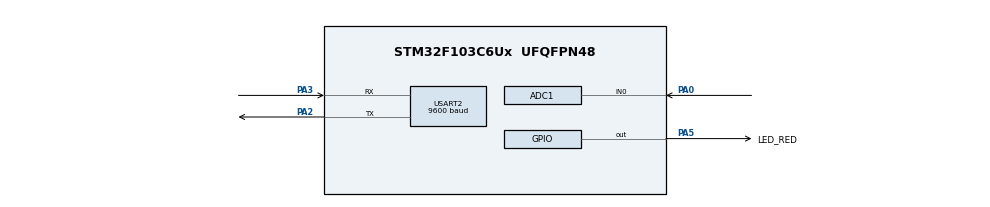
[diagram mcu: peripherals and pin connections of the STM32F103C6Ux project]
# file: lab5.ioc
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ADC1.Channel-0\#ChannelRegularConversion=ADC_CHANNEL_0
ADC1.ContinuousConvMode=ENABLE
ADC1.NbrOfConversionFlag=1
ADC1.Rank-0\#ChannelRegularConversion=1
ADC1.SamplingTime-0\#ChannelRegularConversion=ADC_SAMPLETIME_1CYCLE_5
ADC1.master=1
Mcu.Family=STM32F1
Mcu.Name=STM32F103C6Ux
Mcu.Package=UFQFPN48
NVIC.PriorityGroup=NVIC_PRIORITYGROUP_4
NVIC.TIM2_IRQn=true\:0\:0\:false\:false\:true\:true\:true
NVIC.USART2_IRQn=true\:0\:0\:false\:false\:true\:true\:true
PA0-WKUP.Signal=ADCx_IN0
PA2.Mode=Asynchronous
PA2.Signal=USART2_TX
PA3.Mode=Asynchronous
PA3.Signal=USART2_RX
PA5.GPIO_Label=LED_RED
PA5.Signal=GPIO_Output
PA6.Signal=S_TIM3_CH1
ProjectManager.HeapSize=0x200
ProjectManager.StackSize=0x400
ProjectManager.TargetToolchain=STM32CubeIDE
RCC.APB1Freq_Value=8000000
RCC.APB2Freq_Value=8000000
SH.ADCx_IN0.0=ADC1_IN0,IN0
SH.S_TIM3_CH1.0=TIM3_CH1
TIM2.Period=10
TIM2.Prescaler=7999
USART2.BaudRate=9600
USART2.VirtualMode=VM_ASYNC
VP_SYS_VS_ND.Mode=No_Debug
VP_TIM2_VS_ClockSourceINT.Mode=Internal
board=custom

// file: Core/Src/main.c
/* USER CODE BEGIN Header */
/**
  ******************************************************************************
  * @file           : main.c
  * @brief          : Main program body
  ******************************************************************************
  * @attention
  *
  * <h2><center>&copy; Copyright (c) 2022 STMicroelectronics.
  * All rights reserved.</center></h2>
  *
  * This software component is licensed by ST under BSD 3-Clause license,
  * the "License"; You may not use this file except in compliance with the
  * License. You may obtain a copy of the License at:
  *                        opensource.org/licenses/BSD-3-Clause
  *
  ******************************************************************************
  */
/* USER CODE END Header */
#include "main.h"

/* USER CODE BEGIN Includes */
#include "stdio.h"
#include "global.h"
#include "command_parser_fsm.h"
#include "uart_communiation_fsm.h"
/* USER CODE END Includes */

ADC_HandleTypeDef hadc1;

TIM_HandleTypeDef htim2;

UART_HandleTypeDef huart2;

void SystemClock_Config(void);
static void MX_GPIO_Init(void);
static void MX_ADC1_Init(void);
static void MX_USART2_UART_Init(void);
static void MX_TIM2_Init(void);

/* USER CODE BEGIN 0 */

void HAL_UART_RxCpltCallback ( UART_HandleTypeDef * huart ) {
	if( huart -> Instance == USART2 ) {

//		HAL_UART_Receive_IT (& huart2 ,&temp , 1) ;
//		  HAL_UART_Receive_IT(&huart2, (char*)str, 10);
//		  HAL_UART_Transmit (& huart2 , str , 5 , 50) ;
//
		buffer [ index_buffer ++] = temp ;
		if ( index_buffer == 30) index_buffer = 0;
		buffer_flag = 1;
		HAL_UART_Receive_IT (& huart2 , & temp , 1) ;
		HAL_UART_Transmit (& huart2 , & temp , 1 , 10) ;

	}
}
/* USER CODE END 0 */

int main(void)
{

  /* MCU Configuration--------------------------------------------------------*/

  /* Reset of all peripherals, Initializes the Flash interface and the Systick. */
  HAL_Init();

  /* Configure the system clock */
  SystemClock_Config();

  /* Initialize all configured peripherals */
  MX_GPIO_Init();
  MX_ADC1_Init();
  MX_USART2_UART_Init();
  MX_TIM2_Init();
  /* USER CODE BEGIN 2 */
  HAL_TIM_Base_Start_IT(&htim2);
  HAL_ADC_Start(&hadc1);
  HAL_UART_Receive_IT(&huart2, &temp, 1);
  /* USER CODE END 2 */

  /* Infinite loop */
  /* USER CODE BEGIN WHILE */
  setTimer1(100);
  while (1)
  {   /* USER CODE END WHILE */

    /* USER CODE BEGIN 3 */

	  if( buffer_flag == 1) {
		  command_parser_fsm();
		  buffer_flag = 0;
	  }
	  uart_communiation_fsm();

  }
  /* USER CODE END 3 */
}

void SystemClock_Config(void)
{
  RCC_OscInitTypeDef RCC_OscInitStruct = {0};
  RCC_ClkInitTypeDef RCC_ClkInitStruct = {0};
  RCC_PeriphCLKInitTypeDef PeriphClkInit = {0};

  /** Initializes the RCC Oscillators according to the specified parameters
  * in the RCC_OscInitTypeDef structure.
  */
  RCC_OscInitStruct.OscillatorType = RCC_OSCILLATORTYPE_HSI;
  RCC_OscInitStruct.HSIState = RCC_HSI_ON;
  RCC_OscInitStruct.HSICalibrationValue = RCC_HSICALIBRATION_DEFAULT;
  RCC_OscInitStruct.PLL.PLLState = RCC_PLL_NONE;
  if (HAL_RCC_OscConfig(&RCC_OscInitStruct) != HAL_OK)
  {
    Error_Handler();
  }
  /** Initializes the CPU, AHB and APB buses clocks
  */
  RCC_ClkInitStruct.ClockType = RCC_CLOCKTYPE_HCLK|RCC_CLOCKTYPE_SYSCLK
                              |RCC_CLOCKTYPE_PCLK1|RCC_CLOCKTYPE_PCLK2;
  RCC_ClkInitStruct.SYSCLKSource = RCC_SYSCLKSOURCE_HSI;
  RCC_ClkInitStruct.AHBCLKDivider = RCC_SYSCLK_DIV1;
  RCC_ClkInitStruct.APB1CLKDivider = RCC_HCLK_DIV1;
  RCC_ClkInitStruct.APB2CLKDivider = RCC_HCLK_DIV1;

  if (HAL_RCC_ClockConfig(&RCC_ClkInitStruct, FLASH_LATENCY_0) != HAL_OK)
  {
    Error_Handler();
  }
  PeriphClkInit.PeriphClockSelection = RCC_PERIPHCLK_ADC;
  PeriphClkInit.AdcClockSelection = RCC_ADCPCLK2_DIV2;
  if (HAL_RCCEx_PeriphCLKConfig(&PeriphClkInit) != HAL_OK)
  {
    Error_Handler();
  }
}

static void MX_ADC1_Init(void)
{

  ADC_ChannelConfTypeDef sConfig = {0};

  /** Common config
  */
  hadc1.Instance = ADC1;
  hadc1.Init.ScanConvMode = ADC_SCAN_DISABLE;
  hadc1.Init.ContinuousConvMode = ENABLE;
  hadc1.Init.DiscontinuousConvMode = DISABLE;
  hadc1.Init.ExternalTrigConv = ADC_SOFTWARE_START;
  hadc1.Init.DataAlign = ADC_DATAALIGN_RIGHT;
  hadc1.Init.NbrOfConversion = 1;
  if (HAL_ADC_Init(&hadc1) != HAL_OK)
  {
    Error_Handler();
  }
  /** Configure Regular Channel
  */
  sConfig.Channel = ADC_CHANNEL_0;
  sConfig.Rank = ADC_REGULAR_RANK_1;
  sConfig.SamplingTime = ADC_SAMPLETIME_1CYCLE_5;
  if (HAL_ADC_ConfigChannel(&hadc1, &sConfig) != HAL_OK)
  {
    Error_Handler();
  }

}

static void MX_TIM2_Init(void)
{

  TIM_ClockConfigTypeDef sClockSourceConfig = {0};
  TIM_MasterConfigTypeDef sMasterConfig = {0};

  htim2.Instance = TIM2;
  htim2.Init.Prescaler = 7999;
  htim2.Init.CounterMode = TIM_COUNTERMODE_UP;
  htim2.Init.Period = 10;
  htim2.Init.ClockDivision = TIM_CLOCKDIVISION_DIV1;
  htim2.Init.AutoReloadPreload = TIM_AUTORELOAD_PRELOAD_DISABLE;
  if (HAL_TIM_Base_Init(&htim2) != HAL_OK)
  {
    Error_Handler();
  }
  sClockSourceConfig.ClockSource = TIM_CLOCKSOURCE_INTERNAL;
  if (HAL_TIM_ConfigClockSource(&htim2, &sClockSourceConfig) != HAL_OK)
  {
    Error_Handler();
  }
  sMasterConfig.MasterOutputTrigger = TIM_TRGO_RESET;
  sMasterConfig.MasterSlaveMode = TIM_MASTERSLAVEMODE_DISABLE;
  if (HAL_TIMEx_MasterConfigSynchronization(&htim2, &sMasterConfig) != HAL_OK)
  {
    Error_Handler();
  }

}

static void MX_USART2_UART_Init(void)
{

  huart2.Instance = USART2;
  huart2.Init.BaudRate = 9600;
  huart2.Init.WordLength = UART_WORDLENGTH_8B;
  huart2.Init.StopBits = UART_STOPBITS_1;
  huart2.Init.Parity = UART_PARITY_NONE;
  huart2.Init.Mode = UART_MODE_TX_RX;
  huart2.Init.HwFlowCtl = UART_HWCONTROL_NONE;
  huart2.Init.OverSampling = UART_OVERSAMPLING_16;
  if (HAL_UART_Init(&huart2) != HAL_OK)
  {
    Error_Handler();
  }

}

static void MX_GPIO_Init(void)
{
  GPIO_InitTypeDef GPIO_InitStruct = {0};

  /* GPIO Ports Clock Enable */
  __HAL_RCC_GPIOA_CLK_ENABLE();

  /*Configure GPIO pin Output Level */
  HAL_GPIO_WritePin(LED_RED_GPIO_Port, LED_RED_Pin, GPIO_PIN_RESET);

  /*Configure GPIO pin : LED_RED_Pin */
  GPIO_InitStruct.Pin = LED_RED_Pin;
  GPIO_InitStruct.Mode = GPIO_MODE_OUTPUT_PP;
  GPIO_InitStruct.Pull = GPIO_NOPULL;
  GPIO_InitStruct.Speed = GPIO_SPEED_FREQ_LOW;
  HAL_GPIO_Init(LED_RED_GPIO_Port, &GPIO_InitStruct);

  /*Configure GPIO pin : PA6 */
  GPIO_InitStruct.Pin = GPIO_PIN_6;
  GPIO_InitStruct.Mode = GPIO_MODE_AF_PP;
  GPIO_InitStruct.Speed = GPIO_SPEED_FREQ_LOW;
  HAL_GPIO_Init(GPIOA, &GPIO_InitStruct);

}

/* USER CODE BEGIN 4 */
void HAL_TIM_PeriodElapsedCallback(TIM_HandleTypeDef *htim)
{
	timerRun1();
	timerRun2();
}
/* USER CODE END 4 */

void Error_Handler(void)
{
  __disable_irq();
  while (1)
  {
  }
}

/************************ (C) COPYRIGHT STMicroelectronics *****END OF FILE****/
